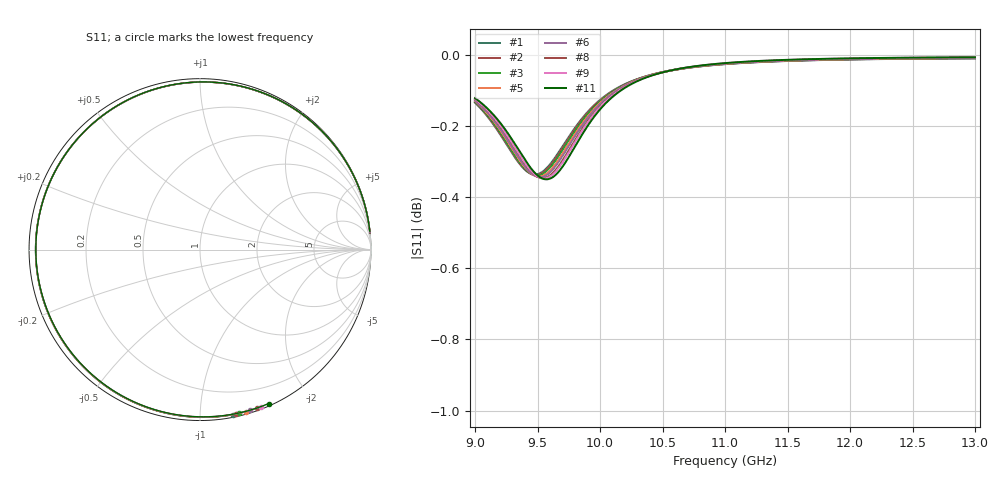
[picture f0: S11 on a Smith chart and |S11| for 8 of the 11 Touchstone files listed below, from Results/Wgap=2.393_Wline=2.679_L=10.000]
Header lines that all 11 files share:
! TOUCHSTONE file generated by CST DESIGN STUDIO
! Project name: C:\Work\MatlabApps\UnitCellOptimizationMatlab\CST\unitcell.cst
! Tree item: Tasks\Sweep1\SPara1\S-Parameters
! Header version: 2024
! Port assignment regex: !\s*Touchstone port\s*([0-9]+)\s*=\s*(CST MWS port|CST DES external port|CST DES block port)\s*(.+)\s* \(\"(.*)\"\)(\s*mode\s*([0-9]+))?.*
! Touchstone port assignment:
! Touchstone port 1 = CST DES external port 1 ("")
# GHz S MA R 50
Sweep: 9 GHz to 13 GHz
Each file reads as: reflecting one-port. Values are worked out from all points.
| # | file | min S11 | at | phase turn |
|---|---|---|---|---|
| 1 | DS_for_MWS-run-0001.s1p | -0.3 dB | 9.479 GHz | -276 deg |
| 2 | DS_for_MWS-run-0002.s1p | -0.3 dB | 9.487 GHz | -277 deg |
| 3 | DS_for_MWS-run-0003.s1p | -0.3 dB | 9.494 GHz | -278 deg |
| 4 | DS_for_MWS-run-0004.s1p | -0.3 dB | 9.503 GHz | -279 deg |
| 5 | DS_for_MWS-run-0005.s1p | -0.3 dB | 9.512 GHz | -280 deg |
| 6 | DS_for_MWS-run-0006.s1p | -0.3 dB | 9.521 GHz | -281 deg |
| 7 | DS_for_MWS-run-0007.s1p | -0.3 dB | 9.53 GHz | -283 deg |
| 8 | DS_for_MWS-run-0008.s1p | -0.3 dB | 9.54 GHz | -284 deg |
| 9 | DS_for_MWS-run-0009.s1p | -0.3 dB | 9.55 GHz | -285 deg |
| 10 | DS_for_MWS-run-0010.s1p | -0.3 dB | 9.56 GHz | -287 deg |
| 11 | DS_for_MWS-run-0011.s1p | -0.3 dB | 9.571 GHz | -288 deg |
